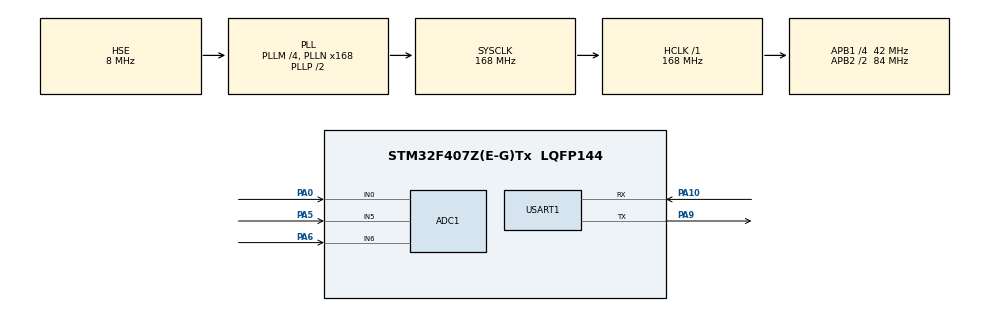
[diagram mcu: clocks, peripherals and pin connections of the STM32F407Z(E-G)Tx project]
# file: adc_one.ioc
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ADC1.Channel-16\#ChannelRegularConversion=ADC_CHANNEL_0
ADC1.Channel-17\#ChannelRegularConversion=ADC_CHANNEL_5
ADC1.Channel-18\#ChannelRegularConversion=ADC_CHANNEL_6
ADC1.Channel-19\#ChannelInjectedConversion=ADC_CHANNEL_0
ADC1.Channel-20\#ChannelInjectedConversion=ADC_CHANNEL_0
ADC1.Channel-21\#ChannelInjectedConversion=ADC_CHANNEL_0
ADC1.ContinuousConvMode=ENABLE
ADC1.DMAContinuousRequests=ENABLE
ADC1.InjNumberOfConversion=3
ADC1.InjectedOffset-19\#ChannelInjectedConversion=0
ADC1.InjectedOffset-20\#ChannelInjectedConversion=0
ADC1.InjectedOffset-21\#ChannelInjectedConversion=0
ADC1.InjectedRank-19\#ChannelInjectedConversion=1
ADC1.InjectedRank-20\#ChannelInjectedConversion=2
ADC1.InjectedRank-21\#ChannelInjectedConversion=3
ADC1.NbrOfConversion=3
ADC1.NbrOfConversionFlag=1
ADC1.Rank-16\#ChannelRegularConversion=1
ADC1.Rank-17\#ChannelRegularConversion=2
ADC1.Rank-18\#ChannelRegularConversion=3
ADC1.SamplingTime-16\#ChannelRegularConversion=ADC_SAMPLETIME_3CYCLES
ADC1.SamplingTime-17\#ChannelRegularConversion=ADC_SAMPLETIME_3CYCLES
ADC1.SamplingTime-18\#ChannelRegularConversion=ADC_SAMPLETIME_3CYCLES
ADC1.SamplingTime-19\#ChannelInjectedConversion=ADC_SAMPLETIME_3CYCLES
ADC1.SamplingTime-20\#ChannelInjectedConversion=ADC_SAMPLETIME_3CYCLES
ADC1.SamplingTime-21\#ChannelInjectedConversion=ADC_SAMPLETIME_3CYCLES
ADC1.ScanConvMode=ENABLE
ADC1.master=1
Dma.ADC1.0.Direction=DMA_PERIPH_TO_MEMORY
Dma.ADC1.0.FIFOMode=DMA_FIFOMODE_DISABLE
Dma.ADC1.0.Instance=DMA2_Stream0
Dma.ADC1.0.MemDataAlignment=DMA_MDATAALIGN_WORD
Dma.ADC1.0.MemInc=DMA_MINC_ENABLE
Dma.ADC1.0.Mode=DMA_CIRCULAR
Dma.ADC1.0.PeriphDataAlignment=DMA_PDATAALIGN_WORD
Dma.ADC1.0.PeriphInc=DMA_PINC_DISABLE
Dma.ADC1.0.Priority=DMA_PRIORITY_LOW
Dma.Request0=ADC1
Mcu.Family=STM32F4
Mcu.Name=STM32F407Z(E-G)Tx
Mcu.Package=LQFP144
NVIC.DMA2_Stream0_IRQn=true\:0\:0\:false\:false\:true\:false\:true
NVIC.PriorityGroup=NVIC_PRIORITYGROUP_4
NVIC.TIM3_IRQn=true\:0\:0\:false\:false\:true\:true\:true
PA0-WKUP.Signal=ADCx_IN0
PA10.Mode=Asynchronous
PA10.Signal=USART1_RX
PA5.Signal=ADCx_IN5
PA6.Signal=ADCx_IN6
PA9.Mode=Asynchronous
PA9.Signal=USART1_TX
PC14-OSC32_IN.Mode=LSE-External-Oscillator
PC14-OSC32_IN.Signal=RCC_OSC32_IN
PC15-OSC32_OUT.Mode=LSE-External-Oscillator
PC15-OSC32_OUT.Signal=RCC_OSC32_OUT
PH0-OSC_IN.Mode=HSE-External-Oscillator
PH0-OSC_IN.Signal=RCC_OSC_IN
PH1-OSC_OUT.Mode=HSE-External-Oscillator
PH1-OSC_OUT.Signal=RCC_OSC_OUT
ProjectManager.HeapSize=0x200
ProjectManager.StackSize=0x400
ProjectManager.TargetToolchain=MDK-ARM V5
RCC.48MHZClocksFreq_Value=84000000
RCC.AHBFreq_Value=168000000
RCC.APB1CLKDivider=RCC_HCLK_DIV4
RCC.APB1Freq_Value=42000000
RCC.APB1TimFreq_Value=84000000
RCC.APB2CLKDivider=RCC_HCLK_DIV2
RCC.APB2Freq_Value=84000000
RCC.APB2TimFreq_Value=168000000
RCC.CortexFreq_Value=168000000
RCC.HCLKFreq_Value=168000000
RCC.HSE_VALUE=8000000
RCC.HSI_VALUE=16000000
RCC.PLLM=4
RCC.PLLN=168
RCC.PLLSourceVirtual=RCC_PLLSOURCE_HSE
RCC.SYSCLKFreq_VALUE=168000000
RCC.SYSCLKSource=RCC_SYSCLKSOURCE_PLLCLK
RCC.VCOOutputFreq_Value=336000000
SH.ADCx_IN0.0=ADC1_IN0,IN0
SH.ADCx_IN5.0=ADC1_IN5,IN5
SH.ADCx_IN6.0=ADC1_IN6,IN6
TIM3.Period=1000
TIM3.Prescaler=84
USART1.VirtualMode=VM_ASYNC
VP_TIM3_VS_ClockSourceINT.Mode=Internal
board=custom

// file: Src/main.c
/* USER CODE BEGIN Header */
/**
  ******************************************************************************
  * @file           : main.c
  * @brief          : Main program body
  ******************************************************************************
  * @attention
  *
  * <h2><center>&copy; Copyright (c) 2020 STMicroelectronics.
  * All rights reserved.</center></h2>
  *
  * This software component is licensed by ST under BSD 3-Clause license,
  * the "License"; You may not use this file except in compliance with the
  * License. You may obtain a copy of the License at:
  *                        opensource.org/licenses/BSD-3-Clause
  *
  ******************************************************************************
  */
/* USER CODE END Header */

#include "main.h"
#include "adc.h"
#include "dma.h"
#include "tim.h"
#include "usart.h"
#include "gpio.h"

/* USER CODE BEGIN Includes */
#include "stdio.h"
/* USER CODE END Includes */

void SystemClock_Config(void);
/* USER CODE BEGIN PFP */
#define ADC_CHANNEL_CNT 3 	/*Number of sampling channels*/
#define ADC_CHANNEL_FRE 10	/*Single channel sampling times*/
uint32_t adc1_val_buf[30]; /*Array passed to DMA to store multichannel sampling values*/
uint16_t i;
uint32_t adc1_aver_val[ADC_CHANNEL_CNT] = {0}; /*An array that holds the average sample values of multichannels*/
/* USER CODE END PFP */

int main(void)
{

  /* MCU Configuration--------------------------------------------------------*/

  /* Reset of all peripherals, Initializes the Flash interface and the Systick. */
  HAL_Init();

  /* Configure the system clock */
  SystemClock_Config();

  /* Initialize all configured peripherals */
  MX_GPIO_Init();
  MX_DMA_Init();
  MX_ADC1_Init();
  MX_USART1_UART_Init();
  MX_TIM3_Init();
  /* USER CODE BEGIN 2 */
	HAL_TIM_Base_Start_IT(&htim3);
  HAL_ADC_Start_DMA(&hadc1,(uint32_t*) &adc1_val_buf, (ADC_CHANNEL_CNT*ADC_CHANNEL_FRE));
  /* USER CODE END 2 */

  /* Infinite loop */
  while (1)
  {

    /* USER CODE BEGIN 3 */
		if(g_adc_flag==1)
      {
				g_adc_flag=0;

				for(i=0;i<ADC_CHANNEL_CNT;i++)
				{
					adc1_aver_val[i] = 0;
				}

				for(i=0;i<ADC_CHANNEL_FRE;i++)
				{
					adc1_aver_val[0] +=  adc1_val_buf[i*3+0];
					adc1_aver_val[1] +=  adc1_val_buf[i*3+1];
					adc1_aver_val[2] +=  adc1_val_buf[i*3+2];
				}

				for(i=0;i<ADC_CHANNEL_CNT;i++)
				{
					adc1_aver_val[i] /=ADC_CHANNEL_FRE;
				}
				printf("\n\r ***** START PRINTF ADC INFO ******** \r\n\n");
				for(i=0;i<ADC_CHANNEL_CNT;i++)
				{
					printf("ADC1[%02d] Sampling voltage = %1.3f V Sampling value = %04d\r\n",i,adc1_aver_val[i]*3.30f/4095,adc1_aver_val[i]);
				}
				printf("\n\r END PRINTF ADC INFO \r\n\n");
			}

  }
  /* USER CODE END 3 */
}

void SystemClock_Config(void)
{
  RCC_OscInitTypeDef RCC_OscInitStruct = {0};
  RCC_ClkInitTypeDef RCC_ClkInitStruct = {0};

  /** Configure the main internal regulator output voltage
  */
  __HAL_RCC_PWR_CLK_ENABLE();
  __HAL_PWR_VOLTAGESCALING_CONFIG(PWR_REGULATOR_VOLTAGE_SCALE1);
  /** Initializes the CPU, AHB and APB busses clocks
  */
  RCC_OscInitStruct.OscillatorType = RCC_OSCILLATORTYPE_HSE;
  RCC_OscInitStruct.HSEState = RCC_HSE_ON;
  RCC_OscInitStruct.PLL.PLLState = RCC_PLL_ON;
  RCC_OscInitStruct.PLL.PLLSource = RCC_PLLSOURCE_HSE;
  RCC_OscInitStruct.PLL.PLLM = 4;
  RCC_OscInitStruct.PLL.PLLN = 168;
  RCC_OscInitStruct.PLL.PLLP = RCC_PLLP_DIV2;
  RCC_OscInitStruct.PLL.PLLQ = 4;
  if (HAL_RCC_OscConfig(&RCC_OscInitStruct) != HAL_OK)
  {
    Error_Handler();
  }
  /** Initializes the CPU, AHB and APB busses clocks
  */
  RCC_ClkInitStruct.ClockType = RCC_CLOCKTYPE_HCLK|RCC_CLOCKTYPE_SYSCLK
                              |RCC_CLOCKTYPE_PCLK1|RCC_CLOCKTYPE_PCLK2;
  RCC_ClkInitStruct.SYSCLKSource = RCC_SYSCLKSOURCE_PLLCLK;
  RCC_ClkInitStruct.AHBCLKDivider = RCC_SYSCLK_DIV1;
  RCC_ClkInitStruct.APB1CLKDivider = RCC_HCLK_DIV4;
  RCC_ClkInitStruct.APB2CLKDivider = RCC_HCLK_DIV2;

  if (HAL_RCC_ClockConfig(&RCC_ClkInitStruct, FLASH_LATENCY_5) != HAL_OK)
  {
    Error_Handler();
  }
}

void Error_Handler(void)
{
}

/************************ (C) COPYRIGHT STMicroelectronics *****END OF FILE****/
